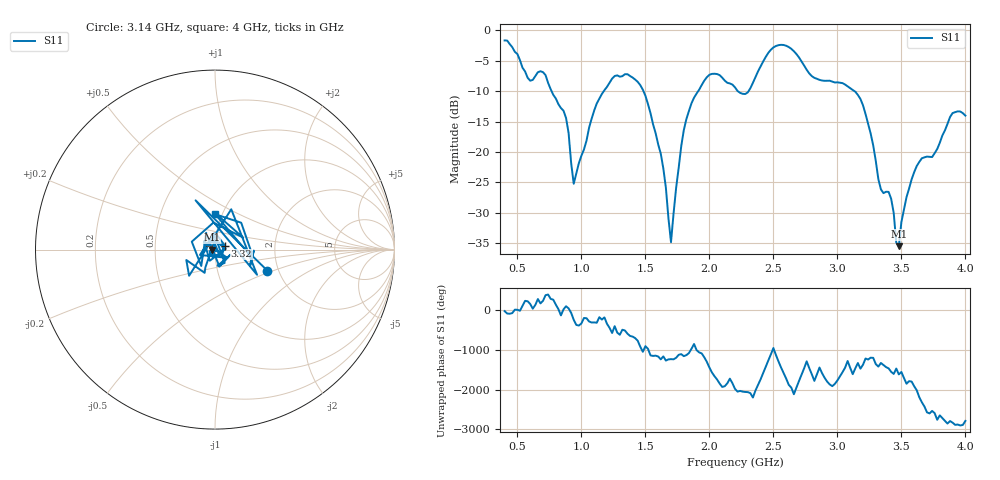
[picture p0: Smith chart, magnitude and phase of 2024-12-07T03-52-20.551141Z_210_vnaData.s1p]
!Created with skrf (http://scikit-rf.org).
# Hz S RI R 50.0
!freq ReS11 ImS11
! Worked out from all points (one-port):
!   181 points, 400 MHz to 4 GHz, reference 50 ohm
!   lowest |S11| = -35.5 dB at 3.48 GHz (marker M1), VSWR 1.03, Z = 48.4 - j0.116 ohm
!   |S11| at or under -10 dB: 767.2 MHz to 1.174 GHz (407.2 MHz wide, 41.9 % of centre); 1.485 GHz to 1.912 GHz (426.8 MHz wide, 25.1 % of centre); 3.135 GHz to end of sweep (the widest 3 of 4)
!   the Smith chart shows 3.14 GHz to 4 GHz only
!   S11 on the Smith chart (normalised r, x): 3.14 GHz: 1.75, -0.45; 3.32 GHz: 1.12, +0.05; 4 GHz: 0.92, +0.38
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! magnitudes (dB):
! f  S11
! 400 MHz  -1.6
! 600 MHz  -8.3
! 720 MHz  -7.4
! 860 MHz  -13.2
! 900 MHz  -16.9
! 940 MHz  -25.2
! 1.12 GHz  -12.0
! 1.3 GHz  -7.6
! 1.5 GHz  -10.7
! 1.62 GHz  -20.3
! 1.7 GHz  -34.8
! 1.76 GHz  -22.6
! 1.82 GHz  -14.6
! 1.96 GHz  -8.3
! 2.2 GHz  -9.4
! 2.3 GHz  -10.2
! 2.5 GHz  -2.8
! 2.66 GHz  -3.4
! 2.82 GHz  -7.8
! 3.1 GHz  -9.5
! 3.14 GHz  -10.1
! 3.22 GHz  -13.8
! 3.32 GHz  -24.5
! 3.42 GHz  -27.7
! 3.48 GHz  -35.5
! 3.56 GHz  -26.0
! 3.9 GHz  -13.6
! 4 GHz  -14.0
